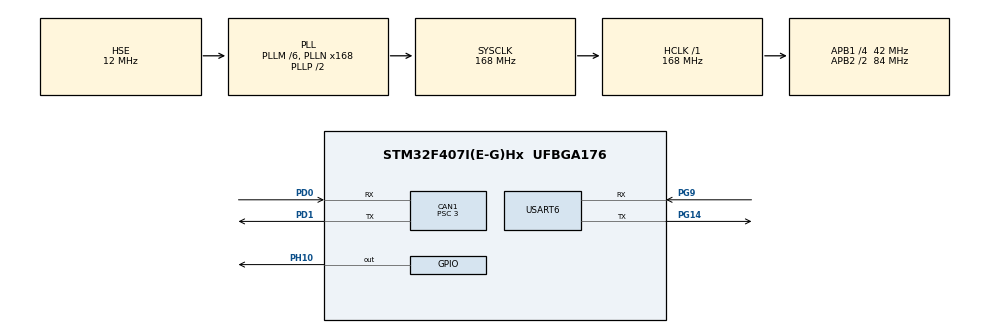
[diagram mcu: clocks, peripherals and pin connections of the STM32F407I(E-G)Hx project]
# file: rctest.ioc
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CAN1.BS1=CAN_BS1_10TQ
CAN1.BS2=CAN_BS2_3TQ
CAN1.CalculateBaudRate=1000000
CAN1.CalculateTimeBit=1000
CAN1.CalculateTimeQuantum=71.42857142857143
CAN1.Prescaler=3
Dma.Request0=USART6_TX
Dma.USART6_TX.0.Direction=DMA_MEMORY_TO_PERIPH
Dma.USART6_TX.0.FIFOMode=DMA_FIFOMODE_DISABLE
Dma.USART6_TX.0.Instance=DMA2_Stream6
Dma.USART6_TX.0.MemDataAlignment=DMA_MDATAALIGN_BYTE
Dma.USART6_TX.0.MemInc=DMA_MINC_ENABLE
Dma.USART6_TX.0.Mode=DMA_NORMAL
Dma.USART6_TX.0.PeriphDataAlignment=DMA_PDATAALIGN_BYTE
Dma.USART6_TX.0.PeriphInc=DMA_PINC_DISABLE
Dma.USART6_TX.0.Priority=DMA_PRIORITY_LOW
Mcu.Family=STM32F4
Mcu.Name=STM32F407I(E-G)Hx
Mcu.Package=UFBGA176
NVIC.CAN1_RX0_IRQn=true\:0\:0\:false\:false\:true\:true\:true
NVIC.DMA2_Stream6_IRQn=true\:0\:0\:false\:false\:true\:false\:true
NVIC.PriorityGroup=NVIC_PRIORITYGROUP_4
NVIC.USART6_IRQn=true\:1\:0\:true\:false\:true\:true\:true
PA13.Mode=Serial_Wire
PA13.Signal=SYS_JTMS-SWDIO
PA14.Mode=Serial_Wire
PA14.Signal=SYS_JTCK-SWCLK
PD0.Mode=CAN_Activate
PD0.Signal=CAN1_RX
PD1.Mode=CAN_Activate
PD1.Signal=CAN1_TX
PG14.Mode=Asynchronous
PG14.Signal=USART6_TX
PG9.Mode=Asynchronous
PG9.Signal=USART6_RX
PH0-OSC_IN.Mode=HSE-External-Oscillator
PH0-OSC_IN.Signal=RCC_OSC_IN
PH1-OSC_OUT.Mode=HSE-External-Oscillator
PH1-OSC_OUT.Signal=RCC_OSC_OUT
PH10.GPIO_ModeDefaultOutputPP=GPIO_MODE_OUTPUT_PP
PH10.GPIO_PuPd=GPIO_PULLUP
PH10.PinState=GPIO_PIN_SET
PH10.Signal=GPIO_Output
ProjectManager.HeapSize=0x200
ProjectManager.StackSize=0x400
ProjectManager.TargetToolchain=MDK-ARM V5.32
RCC.48MHZClocksFreq_Value=84000000
RCC.AHBFreq_Value=168000000
RCC.APB1CLKDivider=RCC_HCLK_DIV4
RCC.APB1Freq_Value=42000000
RCC.APB1TimFreq_Value=84000000
RCC.APB2CLKDivider=RCC_HCLK_DIV2
RCC.APB2Freq_Value=84000000
RCC.APB2TimFreq_Value=168000000
RCC.CortexFreq_Value=168000000
RCC.HCLKFreq_Value=168000000
RCC.HSE_VALUE=12000000
RCC.HSI_VALUE=16000000
RCC.LSE_VALUE=32768
RCC.PLLM=6
RCC.PLLN=168
RCC.PLLSourceVirtual=RCC_PLLSOURCE_HSE
RCC.SYSCLKFreq_VALUE=168000000
RCC.SYSCLKSource=RCC_SYSCLKSOURCE_PLLCLK
RCC.VCOOutputFreq_Value=336000000
USART6.VirtualMode=VM_ASYNC
board=custom

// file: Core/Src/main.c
/* USER CODE BEGIN Header */
/**
  ******************************************************************************
  * @file           : main.c
  * @brief          : Main program body
  ******************************************************************************
  * @attention
  *
  * Copyright (c) 2025 STMicroelectronics.
  * All rights reserved.
  *
  * This software is licensed under terms that can be found in the LICENSE file
  * in the root directory of this software component.
  * If no LICENSE file comes with this software, it is provided AS-IS.
  *
  ******************************************************************************
  */
/* USER CODE END Header */
#include "main.h"
#include "can.h"
#include "dma.h"
#include "usart.h"
#include "gpio.h"

/* USER CODE BEGIN Includes */
#include "pid.h"
/* USER CODE END Includes */

/* USER CODE BEGIN PTD */

pid_type_def speed_pid;
pid_type_def location_pid;
extern float current_location_4 ;
extern float current_speed_4;
extern int32_t motor_total_ecd[4];
float target_location_4 =3000.0f  ;
/* USER CODE END PTD */

void SystemClock_Config(void);

int main(void)
{

  /* MCU Configuration--------------------------------------------------------*/

  /* Reset of all peripherals, Initializes the Flash interface and the Systick. */
  HAL_Init();

  /* Configure the system clock */
  SystemClock_Config();

  /* Initialize all configured peripherals */
  MX_GPIO_Init();
  MX_CAN1_Init();
  MX_DMA_Init();
  MX_USART6_UART_Init();
  /* USER CODE BEGIN 2 */
pid_init(&location_pid, 1.32f, 0.03f, 0.99, 8000, -8000);
pid_init(&speed_pid, 6.5f, 1.0f, 3.0f, 15000, -15000);//PID调参
can_filter_init();
target_location_4 = 2000.0f;
  /* USER CODE END 2 */

  /* Infinite loop */
  while (1)
  {

    /* USER CODE BEGIN 3 */
	float target_speed_4 = pid_calculate(&location_pid, target_location_4, current_location_4);
	int16_t pid_output = (int16_t)pid_calculate(&speed_pid,target_speed_4, current_speed_4);//计算PID输出
    CAN_cmd_chassis(0, 0, 0, pid_output);
     if (HAL_UART_GetState(&huart6) == HAL_UART_STATE_READY)
    {
      UART_SendSpeed_DMA(2000,current_location_4);
    }//DMA模式发送
    HAL_Delay(3);
  }
  /* USER CODE END 3 */
}

void SystemClock_Config(void)
{
  RCC_OscInitTypeDef RCC_OscInitStruct = {0};
  RCC_ClkInitTypeDef RCC_ClkInitStruct = {0};

  /** Configure the main internal regulator output voltage
  */
  __HAL_RCC_PWR_CLK_ENABLE();
  __HAL_PWR_VOLTAGESCALING_CONFIG(PWR_REGULATOR_VOLTAGE_SCALE1);
  /** Initializes the RCC Oscillators according to the specified parameters
  * in the RCC_OscInitTypeDef structure.
  */
  RCC_OscInitStruct.OscillatorType = RCC_OSCILLATORTYPE_HSE;
  RCC_OscInitStruct.HSEState = RCC_HSE_ON;
  RCC_OscInitStruct.PLL.PLLState = RCC_PLL_ON;
  RCC_OscInitStruct.PLL.PLLSource = RCC_PLLSOURCE_HSE;
  RCC_OscInitStruct.PLL.PLLM = 6;
  RCC_OscInitStruct.PLL.PLLN = 168;
  RCC_OscInitStruct.PLL.PLLP = RCC_PLLP_DIV2;
  RCC_OscInitStruct.PLL.PLLQ = 4;
  if (HAL_RCC_OscConfig(&RCC_OscInitStruct) != HAL_OK)
  {
    Error_Handler();
  }
  /** Initializes the CPU, AHB and APB buses clocks
  */
  RCC_ClkInitStruct.ClockType = RCC_CLOCKTYPE_HCLK|RCC_CLOCKTYPE_SYSCLK
                              |RCC_CLOCKTYPE_PCLK1|RCC_CLOCKTYPE_PCLK2;
  RCC_ClkInitStruct.SYSCLKSource = RCC_SYSCLKSOURCE_PLLCLK;
  RCC_ClkInitStruct.AHBCLKDivider = RCC_SYSCLK_DIV1;
  RCC_ClkInitStruct.APB1CLKDivider = RCC_HCLK_DIV4;
  RCC_ClkInitStruct.APB2CLKDivider = RCC_HCLK_DIV2;

  if (HAL_RCC_ClockConfig(&RCC_ClkInitStruct, FLASH_LATENCY_5) != HAL_OK)
  {
    Error_Handler();
  }
}

void Error_Handler(void)
{
  __disable_irq();
  while (1)
  {
  }
}
